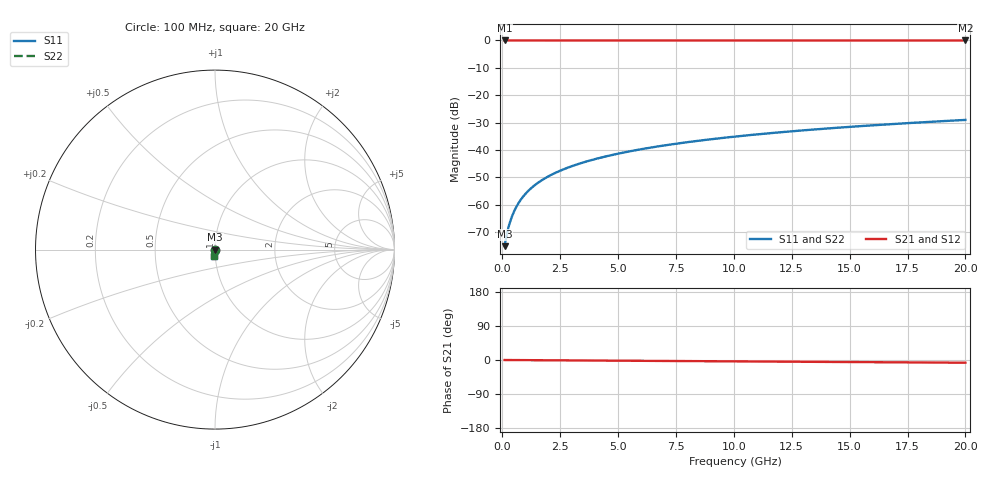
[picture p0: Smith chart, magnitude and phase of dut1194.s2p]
! Touchstone file exported from HFSS 2026.1.0
!  File:  C:/ffzhzh/LocalFiles/Ansys_Project_Files/temp_train_TSV_1194_1783192474_18472.aedt
!  Generated:  03:15:57 AM Jul  5, 2026
!  Design:  TSV
!  Project:  temp_train_TSV_1194_1783192474_18472
! Variables:
!  h_bsmrdl = 2um
!  h_ox = 20um
!  h_rdl = 5um
!  h_sub = 71.52um
!  h_tmrdl = 5um
!  h_tsv = 71.52um
!  h_via = 3um
!  l_bsmrdl = 300um
!  l_sub = 421.06um
!  l_tmrdl = 200um
!  m_sub = 200um
!  pitch = 32.64um
!  r_tsv = 10.53um
!  s_tmrdl = 10um
!  w_bsmrdl = 18um
!  w_sub = 500um
!  w_tmrdl = 12um
!  x_tsv_center1 = 206um
!  x_tsv_center2 = 524um
!  x_tsv_center3 = 736um
!  x_tsv_center4 = 1054um
!  x_tsv_center5 = 1266um
!  x_tsv_center6 = 1584um
# GHz S MA R 50.000000
! Terminal data exported
! Port[1] = TSV1_1_T1
! Port[2] = TSV1_1_T2
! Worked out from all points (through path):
!   200 points, 100 MHz to 20 GHz, reference 50 ohm
!   highest |S21| = 0.00 dB at 100 MHz (marker M1); lowest = 0.0 dB at 20 GHz (marker M2)
!   lowest |S11| = -75.1 dB at 100 MHz (marker M3), VSWR 1.00, Z = 50 - j0.0133 ohm
!   |S11| at or under -10 dB: start of sweep to end of sweep
!   |S22| runs from -75.1 to -29.0 dB; largest |S21 - S12| = 3.2e-15
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0.1  0.0001756 -49.0  0.9999 -0.0  0.9999 -0.0  0.0001756 -49.0
! Gamma 0 0 0 0
! Port Impedance 50 0 50 0
0.2  0.0002979 -64.4  0.9999 -0.1  0.9999 -0.1  0.0002979 -64.4
0.3  0.000437 -70.1  0.9999 -0.1  0.9999 -0.1  0.000437 -70.1
0.4  0.000586 -72.9  0.9998 -0.2  0.9998 -0.2  0.000586 -72.9
0.5  0.0007425 -74.7  0.9998 -0.2  0.9998 -0.2  0.0007425 -74.7
0.6  0.0009047 -76.0  0.9998 -0.2  0.9998 -0.2  0.0009047 -76.0
0.8  0.00124 -77.9  0.9997 -0.3  0.9997 -0.3  0.00124 -77.9
1.1  0.001756 -80.0  0.9997 -0.4  0.9997 -0.4  0.001756 -80.0
1.3  0.002103 -81.1  0.9997 -0.5  0.9997 -0.5  0.002103 -81.1
1.5  0.002451 -82.0  0.9996 -0.6  0.9996 -0.6  0.002451 -82.0
1.8  0.002972 -83.1  0.9996 -0.7  0.9996 -0.7  0.002972 -83.1
2.1  0.003493 -84.0  0.9996 -0.8  0.9996 -0.8  0.003493 -84.0
2.7  0.004537 -85.2  0.9995 -1.0  0.9995 -1.0  0.004537 -85.2
3.5  0.005934 -86.3  0.9995 -1.3  0.9995 -1.3  0.005934 -86.3
4.2  0.007163 -87.0  0.9994 -1.5  0.9994 -1.5  0.007163 -87.0
5  0.008574 -87.7  0.9993 -1.8  0.9993 -1.8  0.008574 -87.7
6.8  0.01177 -88.9  0.9992 -2.5  0.9992 -2.5  0.01177 -88.9
8.3  0.01445 -89.8  0.9991 -3.0  0.9991 -3.0  0.01445 -89.8
10.1  0.01767 -90.7  0.999 -3.6  0.999 -3.6  0.01767 -90.7
13.4  0.02358 -92.3  0.9987 -4.8  0.9987 -4.8  0.02358 -92.3
16.7  0.0295 -93.8  0.9984 -6.0  0.9984 -6.0  0.0295 -93.8
20  0.03542 -95.1  0.9981 -7.2  0.9981 -7.2  0.03542 -95.1
